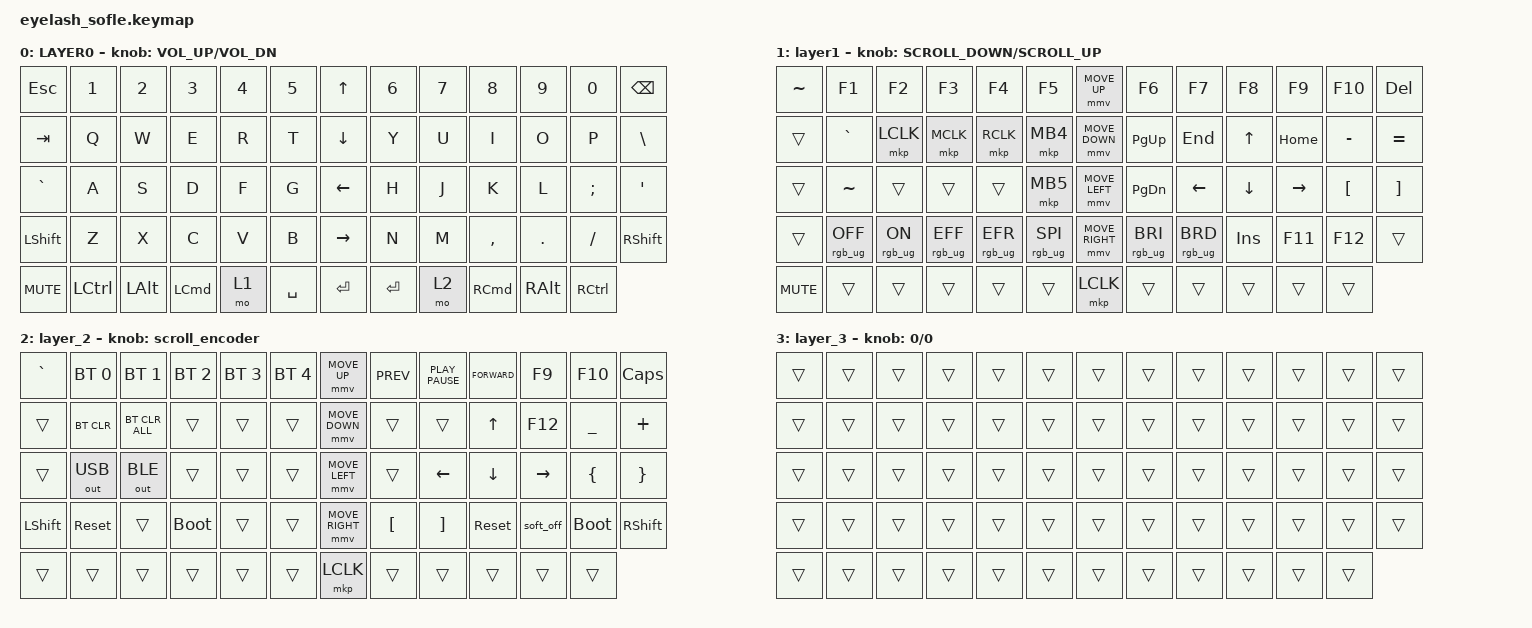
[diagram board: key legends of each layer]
#define ZMK_POINTING_DEFAULT_MOVE_VAL 1200  // 600
#define ZMK_POINTING_DEFAULT_SCRL_VAL 25   // 10

#include <input/processors.dtsi>
#include <zephyr/dt-bindings/input/input-event-codes.h>
#include <behaviors.dtsi>
#include <dt-bindings/zmk/bt.h>
#include <dt-bindings/zmk/keys.h>
#include <dt-bindings/zmk/outputs.h>
#include <dt-bindings/zmk/pointing.h>
#include <dt-bindings/zmk/rgb.h>

&mmv_input_listener { input-processors = <&zip_xy_scaler 2 1>; };

&msc_input_listener { input-processors = <&zip_scroll_scaler 2 1>; };

&msc {
    acceleration-exponent = <1>;      // 0
    time-to-max-speed-ms = <100>;       // 300
    delay-ms = <0>;                   // 0
};

&mmv {
    time-to-max-speed-ms = <500>;
    acceleration-exponent = <1>;
    trigger-period-ms = <16>;
};

/ {
    scroll_encoder: scroll_encoder {
        compatible = "zmk,behavior-sensor-rotate";
        #sensor-binding-cells = <0>;
        bindings = <&msc SCRL_DOWN>, <&msc SCRL_UP>;

        tap-ms = <100>;
    };

    behaviors {
    };

    keymap {
        compatible = "zmk,keymap";

        layer0 {
            bindings = <
&kp ESC     &kp N1     &kp N2        &kp N3            &kp N4  &kp N5       &kp UP_ARROW     &kp N6     &kp N7  &kp N8             &kp N9         &kp N0     &kp BACKSPACE
&kp TAB     &kp Q      &kp W         &kp E             &kp R   &kp T        &kp DOWN_ARROW   &kp Y      &kp U   &kp I              &kp O          &kp P      &kp BSLH
&kp GRAVE   &kp A      &kp S         &kp D             &kp F   &kp G        &kp LEFT_ARROW   &kp H      &kp J   &kp K              &kp L          &kp SEMI   &kp APOS
&kp LSHFT   &kp Z      &kp X         &kp C             &kp V   &kp B        &kp RIGHT_ARROW  &kp N      &kp M   &kp COMMA          &kp DOT        &kp FSLH   &kp RIGHT_SHIFT
&kp C_MUTE  &kp LCTRL  &kp LEFT_ALT  &kp LEFT_COMMAND  &mo 1   &kp SPACE    &kp ENTER        &kp ENTER  &mo 2   &kp RIGHT_COMMAND  &kp RIGHT_ALT  &kp RCTRL
            >;

            sensor-bindings = <&inc_dec_kp C_VOLUME_UP C_VOL_DN>;
            display-name = "LAYER0";
        };

        layer_1 {
            bindings = <
&kp TILDE   &kp F1           &kp F2          &kp F3           &kp F4           &kp F5             &mmv MOVE_UP     &kp F6           &kp F7           &kp F8      &kp F9     &kp F10           &kp DEL
&trans      &kp GRAVE        &mkp LCLK       &mkp MCLK        &mkp RCLK        &mkp MB4           &mmv MOVE_DOWN   &kp PG_UP        &kp END          &kp UP      &kp HOME   &kp MINUS         &kp EQUAL
&trans      &kp TILDE        &trans          &trans           &trans           &mkp MB5           &mmv MOVE_LEFT   &kp PG_DN        &kp LEFT         &kp DOWN    &kp RIGHT  &kp LEFT_BRACKET  &kp RIGHT_BRACKET
&trans      &rgb_ug RGB_OFF  &rgb_ug RGB_ON  &rgb_ug RGB_EFF  &rgb_ug RGB_EFR  &rgb_ug RGB_SPI    &mmv MOVE_RIGHT  &rgb_ug RGB_BRI  &rgb_ug RGB_BRD  &kp INSERT  &kp F11    &kp F12           &trans
&kp C_MUTE  &trans           &trans          &trans           &trans           &trans             &mkp LCLK        &trans           &trans           &trans      &trans     &trans
            >;

            display-name = "layer1";
            sensor-bindings = <&inc_dec_kp K_SCROLL_DOWN K_SCROLL_UP>;
        };

        layer_2 {
            bindings = <
&kp GRAVE       &bt BT_SEL 0  &bt BT_SEL 1    &bt BT_SEL 2  &bt BT_SEL 3  &bt BT_SEL 4    &mmv MOVE_UP     &kp K_PREV        &kp K_PLAY_PAUSE   &kp K_FORWARD  &kp F9     &kp F10      &kp CAPSLOCK
&trans          &bt BT_CLR    &bt BT_CLR_ALL  &trans        &trans        &trans          &mmv MOVE_DOWN   &trans            &trans             &kp UP         &kp F12    &kp UNDER    &kp PLUS
&trans          &out OUT_USB  &out OUT_BLE    &trans        &trans        &trans          &mmv MOVE_LEFT   &trans            &kp LEFT           &kp DOWN       &kp RIGHT  &kp LBRC     &kp RBRC
&kp LEFT_SHIFT  &sys_reset    &trans          &bootloader   &trans        &trans          &mmv MOVE_RIGHT  &kp LEFT_BRACKET  &kp RIGHT_BRACKET  &sys_reset     &soft_off  &bootloader  &kp RSHIFT
&trans          &trans        &trans          &trans        &trans        &trans          &mkp LCLK        &trans            &trans             &trans         &trans     &trans
            >;

            sensor-bindings = <&scroll_encoder>;
        };

        layer_3 {
            bindings = <
&trans  &trans  &trans  &trans  &trans  &trans    &trans  &trans  &trans  &trans  &trans  &trans  &trans
&trans  &trans  &trans  &trans  &trans  &trans    &trans  &trans  &trans  &trans  &trans  &trans  &trans
&trans  &trans  &trans  &trans  &trans  &trans    &trans  &trans  &trans  &trans  &trans  &trans  &trans
&trans  &trans  &trans  &trans  &trans  &trans    &trans  &trans  &trans  &trans  &trans  &trans  &trans
&trans  &trans  &trans  &trans  &trans  &trans    &trans  &trans  &trans  &trans  &trans  &trans
            >;

            sensor-bindings = <&inc_dec_kp 0 0>;
        };
    };
};
